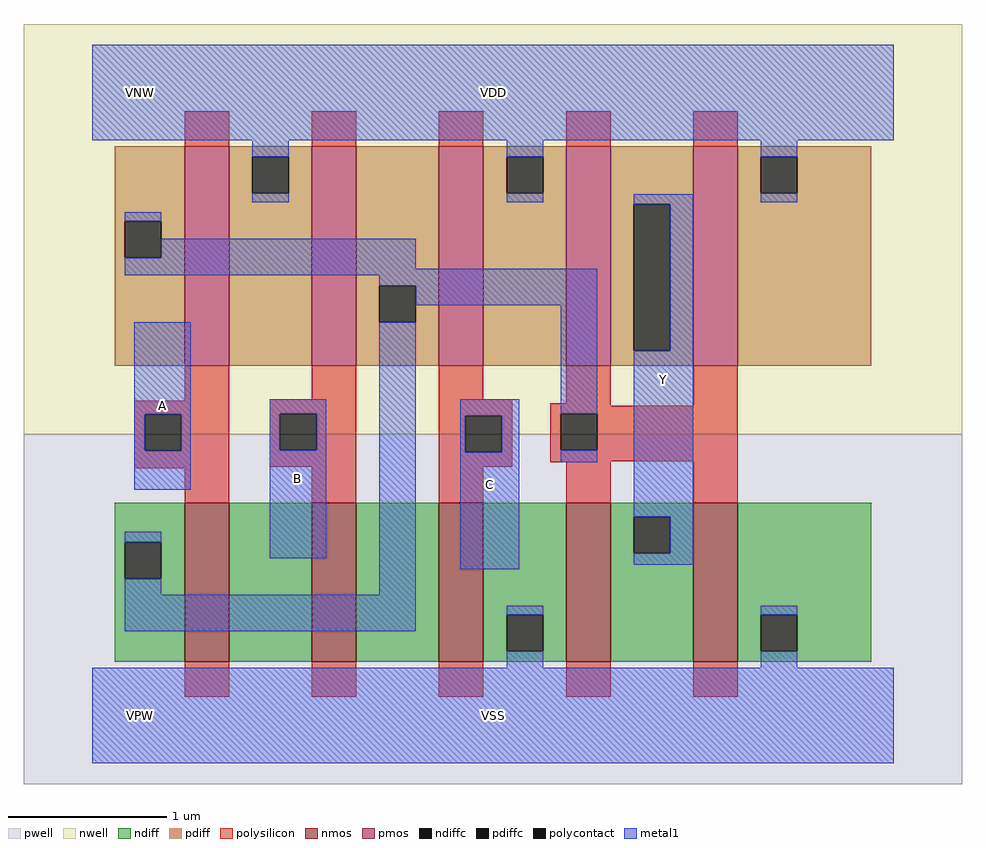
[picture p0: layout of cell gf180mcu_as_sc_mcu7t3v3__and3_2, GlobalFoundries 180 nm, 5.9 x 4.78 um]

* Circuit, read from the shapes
.subckt gf180mcu_as_sc_mcu7t3v3__and3_2 VDD VNW VPW VSS Y C B A
XM1 n1 A n2 VPW nfet_03v3 w=1u l=0.28u
XM2 n3 B n1 VPW nfet_03v3 w=1u l=0.28u
XM3 VSS C n3 VPW nfet_03v3 w=1u l=0.28u
XM4 Y n2 VSS VPW nfet_03v3 w=1u l=0.28u m=2
XM5 VDD A n2 VNW pfet_03v3 w=1.38u l=0.28u
XM6 n2 B VDD VNW pfet_03v3 w=1.38u l=0.28u
XM7 VDD C n2 VNW pfet_03v3 w=1.38u l=0.28u
XM8 Y n2 VDD VNW pfet_03v3 w=1.38u l=0.28u m=2
.ends

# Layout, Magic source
magic
tech gf180mcuD
magscale 1 10
<< nwell >>
rect -86 354 1094 870
<< pwell >>
rect -86 -86 1094 354
<< nmos >>
rect 116 68 172 268
rect 276 68 332 268
rect 436 68 492 268
rect 596 68 652 268
rect 756 68 812 268
<< pmos >>
rect 116 440 172 716
rect 276 440 332 716
rect 436 440 492 716
rect 596 440 652 716
rect 756 440 812 716
<< ndiff >>
rect 28 218 116 268
rect 28 172 41 218
rect 87 172 116 218
rect 28 68 116 172
rect 172 68 276 268
rect 332 68 436 268
rect 492 127 596 268
rect 492 81 521 127
rect 567 81 596 127
rect 492 68 596 81
rect 652 250 756 268
rect 652 204 681 250
rect 727 204 756 250
rect 652 68 756 204
rect 812 127 980 268
rect 812 81 841 127
rect 887 81 980 127
rect 812 68 980 81
<< pdiff >>
rect 28 622 116 716
rect 28 576 41 622
rect 87 576 116 622
rect 28 440 116 576
rect 172 703 276 716
rect 172 657 201 703
rect 247 657 276 703
rect 172 440 276 657
rect 332 541 436 716
rect 332 495 361 541
rect 407 495 436 541
rect 332 440 436 495
rect 492 703 596 716
rect 492 657 521 703
rect 567 657 596 703
rect 492 440 596 657
rect 652 643 756 716
rect 652 459 681 643
rect 727 459 756 643
rect 652 440 756 459
rect 812 703 980 716
rect 812 657 841 703
rect 887 657 980 703
rect 812 440 980 657
<< ndiffc >>
rect 41 172 87 218
rect 521 81 567 127
rect 681 204 727 250
rect 841 81 887 127
<< pdiffc >>
rect 41 576 87 622
rect 201 657 247 703
rect 361 495 407 541
rect 521 657 567 703
rect 681 459 727 643
rect 841 657 887 703
<< polysilicon >>
rect 116 716 172 760
rect 276 716 332 760
rect 436 716 492 760
rect 596 716 652 760
rect 756 716 812 760
rect 116 396 172 440
rect 276 398 332 440
rect 53 379 172 396
rect 53 333 66 379
rect 112 333 172 379
rect 53 311 172 333
rect 223 380 332 398
rect 223 334 236 380
rect 282 334 332 380
rect 223 313 332 334
rect 116 268 172 311
rect 276 268 332 313
rect 436 398 492 440
rect 436 377 528 398
rect 596 393 652 440
rect 436 331 469 377
rect 515 331 528 377
rect 436 313 528 331
rect 576 390 652 393
rect 756 390 812 440
rect 576 380 812 390
rect 576 334 589 380
rect 635 334 812 380
rect 576 320 812 334
rect 576 319 652 320
rect 436 268 492 313
rect 596 268 652 319
rect 756 268 812 320
rect 116 24 172 68
rect 276 24 332 68
rect 436 24 492 68
rect 596 24 652 68
rect 756 24 812 68
<< polycontact >>
rect 66 333 112 379
rect 236 334 282 380
rect 469 331 515 377
rect 589 334 635 380
<< metal1 >>
rect 0 724 1008 844
rect 201 703 247 724
rect 201 646 247 657
rect 521 703 567 724
rect 521 646 567 657
rect 841 703 887 724
rect 681 643 756 656
rect 841 646 887 657
rect 41 622 87 633
rect 87 576 407 600
rect 41 562 407 576
rect 41 554 635 562
rect 361 541 635 554
rect 407 516 635 541
rect 53 379 124 495
rect 53 333 66 379
rect 112 333 124 379
rect 53 284 124 333
rect 223 380 294 398
rect 223 334 236 380
rect 282 334 294 380
rect 41 218 87 231
rect 223 198 294 334
rect 41 152 87 172
rect 361 152 407 495
rect 463 377 537 398
rect 463 331 469 377
rect 515 331 537 377
rect 463 184 537 331
rect 589 380 635 516
rect 589 319 635 334
rect 727 459 756 643
rect 681 250 756 459
rect 727 204 756 250
rect 681 190 756 204
rect 41 106 407 152
rect 521 127 567 138
rect 521 60 567 81
rect 841 127 887 138
rect 841 60 887 81
rect 0 -60 1008 60
<< labels >>
flabel metal1 s 0 724 1008 844 0 FreeSans 400 0 0 0 VDD
port 1 nsew power bidirectional abutment
flabel metal1 s 0 -60 1008 60 0 FreeSans 400 0 0 0 VSS
port 4 nsew ground bidirectional abutment
flabel nwell s 10 734 110 834 0 FreeSans 400 0 0 0 VNW
port 2 nsew power bidirectional
flabel pwell s 10 -50 110 50 0 FreeSans 400 0 0 0 VPW
port 3 nsew ground bidirectional
flabel metal1 s 681 190 756 656 0 FreeSans 200 0 0 0 Y
port 5 nsew signal output
flabel metal1 s 463 184 537 398 0 FreeSans 200 0 0 0 C
port 6 nsew signal input
flabel metal1 s 223 198 294 398 0 FreeSans 200 0 0 0 B
port 7 nsew signal input
flabel metal1 s 53 284 124 495 0 FreeSans 200 0 0 0 A
port 8 nsew signal input
<< properties >>
string FIXED_BBOX 0 0 1008 784
string LEFclass CORE
string LEFsite unithd
string LEFsymmetry X Y
string MASKHINTS_NPLUS -16 -46 1024 354
string MASKHINTS_PPLUS -16 354 1024 830
<< end >>
